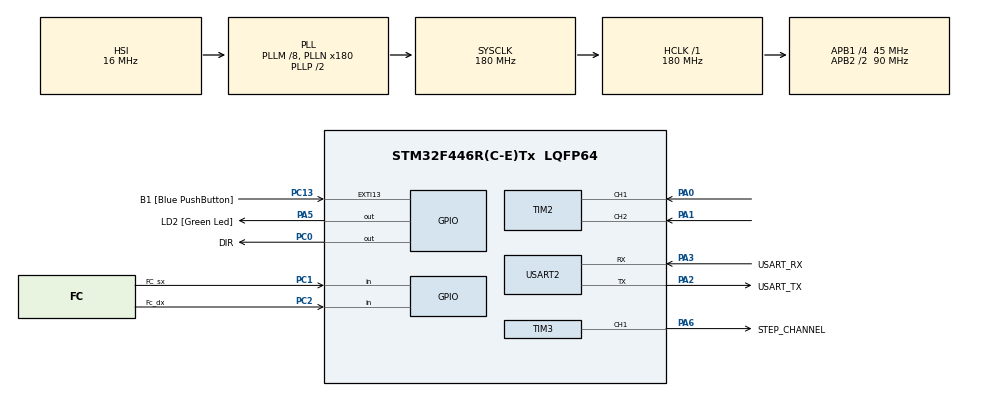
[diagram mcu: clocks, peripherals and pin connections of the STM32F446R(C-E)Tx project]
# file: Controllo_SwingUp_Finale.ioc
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Mcu.Family=STM32F4
Mcu.Name=STM32F446R(C-E)Tx
Mcu.Package=LQFP64
NVIC.EXTI15_10_IRQn=true\:0\:0\:false\:false\:true\:true\:true\:false
NVIC.PriorityGroup=NVIC_PRIORITYGROUP_4
NVIC.TIM3_IRQn=true\:1\:0\:false\:false\:true\:true\:true\:true
PA0-WKUP.GPIO_PuPd=GPIO_PULLUP
PA0-WKUP.Signal=S_TIM2_CH1_ETR
PA1.GPIO_PuPd=GPIO_PULLUP
PA1.Signal=S_TIM2_CH2
PA13.GPIO_Label=TMS
PA13.Mode=Serial_Wire
PA13.Signal=SYS_JTMS-SWDIO
PA14.GPIO_Label=TCK
PA14.Mode=Serial_Wire
PA14.Signal=SYS_JTCK-SWCLK
PA2.GPIO_Label=USART_TX
PA2.Mode=Asynchronous
PA2.Signal=USART2_TX
PA3.GPIO_Label=USART_RX
PA3.Mode=Asynchronous
PA3.Signal=USART2_RX
PA5.GPIO_Label=LD2 [Green Led]
PA5.Signal=GPIO_Output
PA6.GPIO_Label=STEP_CHANNEL
PA6.Signal=S_TIM3_CH1
PB3.GPIO_Label=SWO
PB3.Signal=SYS_JTDO-SWO
PC0.GPIO_Label=DIR
PC0.Signal=GPIO_Output
PC1.GPIO_Label=FC_sx
PC1.GPIO_PuPd=GPIO_PULLDOWN
PC1.Signal=GPIO_Input
PC13.GPIO_Label=B1 [Blue PushButton]
PC13.GPIO_ModeDefaultEXTI=GPIO_MODE_IT_RISING_FALLING
PC13.Signal=GPXTI13
PC14-OSC32_IN.Mode=LSE-External-Oscillator
PC14-OSC32_IN.Signal=RCC_OSC32_IN
PC15-OSC32_OUT.Mode=LSE-External-Oscillator
PC15-OSC32_OUT.Signal=RCC_OSC32_OUT
PC2.GPIO_Label=Fc_dx
PC2.GPIO_PuPd=GPIO_PULLDOWN
PC2.Signal=GPIO_Input
PH0-OSC_IN.Mode=HSE-External-Oscillator
PH0-OSC_IN.Signal=RCC_OSC_IN
PH1-OSC_OUT.Mode=HSE-External-Oscillator
PH1-OSC_OUT.Signal=RCC_OSC_OUT
ProjectManager.HeapSize=0x800
ProjectManager.StackSize=0x800
ProjectManager.TargetToolchain=STM32CubeIDE
RCC.48MHZClocksFreq_Value=84000000
RCC.AHBFreq_Value=180000000
RCC.APB1CLKDivider=RCC_HCLK_DIV4
RCC.APB1Freq_Value=45000000
RCC.APB1TimFreq_Value=90000000
RCC.APB2CLKDivider=RCC_HCLK_DIV2
RCC.APB2Freq_Value=90000000
RCC.APB2TimFreq_Value=180000000
RCC.CortexFreq_Value=180000000
RCC.FLatency-AdvancedSettings=FLASH_LATENCY_5
RCC.HCLKFreq_Value=180000000
RCC.HSE_VALUE=8000000
RCC.HSI_VALUE=16000000
RCC.PLLM=8
RCC.PLLN=180
RCC.PLLP=2
RCC.SYSCLKFreq_VALUE=180000000
RCC.SYSCLKSource=RCC_SYSCLKSOURCE_PLLCLK
RCC.USBFreq_Value=180000000
RCC.VCOOutputFreq_Value=360000000
SH.S_TIM2_CH1_ETR.0=TIM2_CH1,Encoder_Interface
SH.S_TIM2_CH2.0=TIM2_CH2,Encoder_Interface
SH.S_TIM3_CH1.0=TIM3_CH1,PWM Generation1 CH1
STMicroelectronics.X-CUBE-AI.10.1.0.ActivationBufferSizeList=3032
STMicroelectronics.X-CUBE-AI.10.1.0.ActivationBuffers=pool0
STMicroelectronics.X-CUBE-AI.10.1.0.ActivationNames=pool0
STMicroelectronics.X-CUBE-AI.10.1.0.ActivationSizes=AI_NETWORK_DATA_ACTIVATION_1_SIZE
STMicroelectronics.X-CUBE-AI.10.1.0.HeapSize=0x800
STMicroelectronics.X-CUBE-AI.10.1.0.InternalRamActivationBufferMaxSize=AI_NETWORK_DATA_ACTIVATIONS_SIZE
STMicroelectronics.X-CUBE-AI.10.1.0.LatestDirectoryUsed-92f86609272449346e2c80d9b0526046b2d6c99d2a002351901f938909888c08=/Users/salvo/Desktop/Prog Embedded/cart-inverted-pendulum/cart_pendolo_velocita_rl/export_modelli_asta20_basevecchia_storia1s_20s
STMicroelectronics.X-CUBE-AI.10.1.0.MaximumNumberOfInputLayer=1
STMicroelectronics.X-CUBE-AI.10.1.0.MaximumNumberOfOutputLayer=1
STMicroelectronics.X-CUBE-AI.10.1.0.MaximumSizeOfInputLayer=1
STMicroelectronics.X-CUBE-AI.10.1.0.MaximumSizeOfOutputLayer=1
STMicroelectronics.X-CUBE-AI.10.1.0.ModelActualCompression-92f86609272449346e2c80d9b0526046b2d6c99d2a002351901f938909888c08=0.0
STMicroelectronics.X-CUBE-AI.10.1.0.ModelCompression-92f86609272449346e2c80d9b0526046b2d6c99d2a002351901f938909888c08=None
STMicroelectronics.X-CUBE-AI.10.1.0.ModelFlashOccupation-92f86609272449346e2c80d9b0526046b2d6c99d2a002351901f938909888c08=145510
STMicroelectronics.X-CUBE-AI.10.1.0.ModelHashList=92f86609272449346e2c80d9b0526046b2d6c99d2a002351901f938909888c08
STMicroelectronics.X-CUBE-AI.10.1.0.ModelKind-92f86609272449346e2c80d9b0526046b2d6c99d2a002351901f938909888c08=ONNX
STMicroelectronics.X-CUBE-AI.10.1.0.ModelMacc-92f86609272449346e2c80d9b0526046b2d6c99d2a002351901f938909888c08=33931
STMicroelectronics.X-CUBE-AI.10.1.0.ModelName-92f86609272449346e2c80d9b0526046b2d6c99d2a002351901f938909888c08=network
STMicroelectronics.X-CUBE-AI.10.1.0.ModelNameList=network
STMicroelectronics.X-CUBE-AI.10.1.0.ModelRamOccupation-92f86609272449346e2c80d9b0526046b2d6c99d2a002351901f938909888c08=3048
STMicroelectronics.X-CUBE-AI.10.1.0.ModelStructureFile-92f86609272449346e2c80d9b0526046b2d6c99d2a002351901f938909888c08=/Users/salvo/Desktop/Prog Embedded/cart-inverted-pendulum/cart_pendolo_velocita_rl/export_modelli_asta20_basevecchia_storia1s_20s/pendolo_actor.onnx
STMicroelectronics.X-CUBE-AI.10.1.0.ModelType-92f86609272449346e2c80d9b0526046b2d6c99d2a002351901f938909888c08=STM32Cube.AI MCU runtime
STMicroelectronics.X-CUBE-AI.10.1.0.ReadyForCodeGeneration=false
STMicroelectronics.X-CUBE-AI.10.1.0.StackSize=0x800
STMicroelectronics.X-CUBE-AI.10.1.0.WorkingBufferStartAddrList=0xFFFFFFFF
STMicroelectronics.X-CUBE-AI.10.1.0.XAaCUBEAaAICcArtificialOoIntelligenceJjCore=true
STMicroelectronics.X-CUBE-AI.10.1.0.copyWeightToRam-92f86609272449346e2c80d9b0526046b2d6c99d2a002351901f938909888c08=false
STMicroelectronics.X-CUBE-AI.10.1.0.customLayerConfigEnabled-92f86609272449346e2c80d9b0526046b2d6c99d2a002351901f938909888c08=false
STMicroelectronics.X-CUBE-AI.10.1.0.noOnnxIoTranspose-92f86609272449346e2c80d9b0526046b2d6c99d2a002351901f938909888c08=false
STMicroelectronics.X-CUBE-AI.10.1.0.useInputAllocation-92f86609272449346e2c80d9b0526046b2d6c99d2a002351901f938909888c08=true
STMicroelectronics.X-CUBE-AI.10.1.0.useOutputAllocation-92f86609272449346e2c80d9b0526046b2d6c99d2a002351901f938909888c08=true
TIM2.EncoderMode=TIM_ENCODERMODE_TI12
TIM2.IC1Filter=15
TIM2.IC2Filter=15
TIM3.AutoReloadPreload=TIM_AUTORELOAD_PRELOAD_ENABLE
TIM3.Channel-PWM\ Generation1\ CH1=TIM_CHANNEL_1
TIM3.Period=124
TIM3.Prescaler=0
TIM3.Pulse-PWM\ Generation1\ CH1=6
USART2.VirtualMode=VM_ASYNC
VP_CRC_VS_CRC.Mode=CRC_Activate
VP_STMicroelectronics.X-CUBE-AI_VS_ArtificialOoIntelligenceJjXAaCUBEAaAI_10.1.0.Mode=ArtificialOoIntelligenceJjXAaCUBEAaAI
VP_TIM3_VS_ClockSourceINT.Mode=Internal
board=NUCLEO-F446RE

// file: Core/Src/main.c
/* USER CODE BEGIN Header */
/**
  ******************************************************************************
  * @file           : main.c
  * @brief          : Main program body
  ******************************************************************************
  * @attention
  *
  * Copyright (c) 2026 STMicroelectronics.
  * All rights reserved.
  *
  * This software is licensed under terms that can be found in the LICENSE file
  * in the root directory of this software component.
  * If no LICENSE file comes with this software, it is provided AS-IS.
  *
  ******************************************************************************
  */
/* USER CODE END Header */
#include "main.h"

/* USER CODE BEGIN Includes */

#include "stepper.h"
#include "encoder.h"
#include "rete.h"
#include "controllo.h"
#include "hil.h"

/* USER CODE END Includes */

CRC_HandleTypeDef hcrc;

TIM_HandleTypeDef htim2;
TIM_HandleTypeDef htim3;

UART_HandleTypeDef huart2;

void SystemClock_Config(void);
static void MX_GPIO_Init(void);
static void MX_USART2_UART_Init(void);
static void MX_TIM2_Init(void);
static void MX_TIM3_Init(void);
static void MX_CRC_Init(void);

int main(void)
{

  /* MCU Configuration--------------------------------------------------------*/

  /* Reset of all peripherals, Initializes the Flash interface and the Systick. */
  HAL_Init();

  /* Configure the system clock */
  SystemClock_Config();

  /* Initialize all configured peripherals */
  MX_GPIO_Init();
  MX_USART2_UART_Init();
  MX_TIM2_Init();
  MX_TIM3_Init();
  MX_CRC_Init();
  /* USER CODE BEGIN 2 */

  if (Encoder_Init() != HAL_OK)
  {
      Error_Handler();
  }

  if (!Rete_Init())
  {
      controllo_errore = 1;
      Error_Handler();
  }

/* Verifica HIL */
#if HIL_MODE
  Hil_Esegui();
#endif

  /* Acquisizione del riferimento del pendolo prima di muovere il carrello. */
  Stepper_Stop();
  if (Inizializza_Theta() != HAL_OK)
  {
      controllo_errore = 7;
      Error_Handler();
  }
  ultimo_theta_rad = theta_rad;
  velocita_angolare_rad_s = 0.0f;

  /* Homing automatico del carrello per settare la posizione iniziale. */
  Inizializza();
  if (inizializzazione_esito != HAL_OK)
  {
      Error_Handler();
  }
  Calcola_LimitiControllo();

  Stepper_Stop();
  __HAL_GPIO_EXTI_CLEAR_IT(B1_Pin);
  /* Pulizia delle pressioni del pulsante B1 durante l'homing. */
  HAL_NVIC_ClearPendingIRQ(EXTI15_10_IRQn);
  /* Aggiornamento dal riferimento di theta. */
  Leggi_theta();
  ultimo_theta_rad = theta_rad;
  ultimo_carrello_steps = posizione_carrello_steps;
  ultimo_campione_ms = HAL_GetTick();
  pulsante_inizializzato = 1;
  /* Da qui B1 è abilitato.*/
  HAL_NVIC_EnableIRQ(EXTI15_10_IRQn);

  /* USER CODE END 2 */

  /* Infinite loop */
  /* USER CODE BEGIN WHILE */
  while (1)
  {
      /* Inizializzazione del controllo ed eventuale cambio di rete. */
      if (!controllo_abilitato)
      {
          Rete_CambiaSeRichiesto();
          Controllo_AccettaAvvio();
      }
      /* Ciclo principale di controllo. */
      Controllo_Esegui();
      HAL_Delay(1);
    /* USER CODE END WHILE */

  }
}

void SystemClock_Config(void)
{
  RCC_OscInitTypeDef RCC_OscInitStruct = {0};
  RCC_ClkInitTypeDef RCC_ClkInitStruct = {0};

  /** Configure the main internal regulator output voltage
  */
  __HAL_RCC_PWR_CLK_ENABLE();
  __HAL_PWR_VOLTAGESCALING_CONFIG(PWR_REGULATOR_VOLTAGE_SCALE1);

  /** Initializes the RCC Oscillators according to the specified parameters
  * in the RCC_OscInitTypeDef structure.
  */
  RCC_OscInitStruct.OscillatorType = RCC_OSCILLATORTYPE_HSI;
  RCC_OscInitStruct.HSIState = RCC_HSI_ON;
  RCC_OscInitStruct.HSICalibrationValue = RCC_HSICALIBRATION_DEFAULT;
  RCC_OscInitStruct.PLL.PLLState = RCC_PLL_ON;
  RCC_OscInitStruct.PLL.PLLSource = RCC_PLLSOURCE_HSI;
  RCC_OscInitStruct.PLL.PLLM = 8;
  RCC_OscInitStruct.PLL.PLLN = 180;
  RCC_OscInitStruct.PLL.PLLP = 2;
  RCC_OscInitStruct.PLL.PLLQ = 2;
  RCC_OscInitStruct.PLL.PLLR = 2;
  if (HAL_RCC_OscConfig(&RCC_OscInitStruct) != HAL_OK)
  {
    Error_Handler();
  }

  /** Activate the Over-Drive mode
  */
  if (HAL_PWREx_EnableOverDrive() != HAL_OK)
  {
    Error_Handler();
  }

  /** Initializes the CPU, AHB and APB buses clocks
  */
  RCC_ClkInitStruct.ClockType = RCC_CLOCKTYPE_HCLK|RCC_CLOCKTYPE_SYSCLK
                              |RCC_CLOCKTYPE_PCLK1|RCC_CLOCKTYPE_PCLK2;
  RCC_ClkInitStruct.SYSCLKSource = RCC_SYSCLKSOURCE_PLLCLK;
  RCC_ClkInitStruct.AHBCLKDivider = RCC_SYSCLK_DIV1;
  RCC_ClkInitStruct.APB1CLKDivider = RCC_HCLK_DIV4;
  RCC_ClkInitStruct.APB2CLKDivider = RCC_HCLK_DIV2;

  if (HAL_RCC_ClockConfig(&RCC_ClkInitStruct, FLASH_LATENCY_5) != HAL_OK)
  {
    Error_Handler();
  }
}

static void MX_CRC_Init(void)
{

  hcrc.Instance = CRC;
  if (HAL_CRC_Init(&hcrc) != HAL_OK)
  {
    Error_Handler();
  }

}

static void MX_TIM2_Init(void)
{

  TIM_Encoder_InitTypeDef sConfig = {0};
  TIM_MasterConfigTypeDef sMasterConfig = {0};

  htim2.Instance = TIM2;
  htim2.Init.Prescaler = 0;
  htim2.Init.CounterMode = TIM_COUNTERMODE_UP;
  htim2.Init.Period = 4294967295;
  htim2.Init.ClockDivision = TIM_CLOCKDIVISION_DIV1;
  htim2.Init.AutoReloadPreload = TIM_AUTORELOAD_PRELOAD_DISABLE;
  sConfig.EncoderMode = TIM_ENCODERMODE_TI12;
  sConfig.IC1Polarity = TIM_ICPOLARITY_RISING;
  sConfig.IC1Selection = TIM_ICSELECTION_DIRECTTI;
  sConfig.IC1Prescaler = TIM_ICPSC_DIV1;
  sConfig.IC1Filter = 15;
  sConfig.IC2Polarity = TIM_ICPOLARITY_RISING;
  sConfig.IC2Selection = TIM_ICSELECTION_DIRECTTI;
  sConfig.IC2Prescaler = TIM_ICPSC_DIV1;
  sConfig.IC2Filter = 15;
  if (HAL_TIM_Encoder_Init(&htim2, &sConfig) != HAL_OK)
  {
    Error_Handler();
  }
  sMasterConfig.MasterOutputTrigger = TIM_TRGO_RESET;
  sMasterConfig.MasterSlaveMode = TIM_MASTERSLAVEMODE_DISABLE;
  if (HAL_TIMEx_MasterConfigSynchronization(&htim2, &sMasterConfig) != HAL_OK)
  {
    Error_Handler();
  }

}

static void MX_TIM3_Init(void)
{

  TIM_ClockConfigTypeDef sClockSourceConfig = {0};
  TIM_MasterConfigTypeDef sMasterConfig = {0};
  TIM_OC_InitTypeDef sConfigOC = {0};

  htim3.Instance = TIM3;
  htim3.Init.Prescaler = 0;
  htim3.Init.CounterMode = TIM_COUNTERMODE_UP;
  htim3.Init.Period = 28124;
  htim3.Init.ClockDivision = TIM_CLOCKDIVISION_DIV1;
  htim3.Init.AutoReloadPreload = TIM_AUTORELOAD_PRELOAD_ENABLE;
  if (HAL_TIM_Base_Init(&htim3) != HAL_OK)
  {
    Error_Handler();
  }
  sClockSourceConfig.ClockSource = TIM_CLOCKSOURCE_INTERNAL;
  if (HAL_TIM_ConfigClockSource(&htim3, &sClockSourceConfig) != HAL_OK)
  {
    Error_Handler();
  }
  if (HAL_TIM_PWM_Init(&htim3) != HAL_OK)
  {
    Error_Handler();
  }
  sMasterConfig.MasterOutputTrigger = TIM_TRGO_RESET;
  sMasterConfig.MasterSlaveMode = TIM_MASTERSLAVEMODE_DISABLE;
  if (HAL_TIMEx_MasterConfigSynchronization(&htim3, &sMasterConfig) != HAL_OK)
  {
    Error_Handler();
  }
  sConfigOC.OCMode = TIM_OCMODE_PWM1;
  sConfigOC.Pulse = 14062;
  sConfigOC.OCPolarity = TIM_OCPOLARITY_HIGH;
  sConfigOC.OCFastMode = TIM_OCFAST_DISABLE;
  if (HAL_TIM_PWM_ConfigChannel(&htim3, &sConfigOC, TIM_CHANNEL_1) != HAL_OK)
  {
    Error_Handler();
  }
  HAL_TIM_MspPostInit(&htim3);

}

static void MX_USART2_UART_Init(void)
{

  huart2.Instance = USART2;
  huart2.Init.BaudRate = 115200;
  huart2.Init.WordLength = UART_WORDLENGTH_8B;
  huart2.Init.StopBits = UART_STOPBITS_1;
  huart2.Init.Parity = UART_PARITY_NONE;
  huart2.Init.Mode = UART_MODE_TX_RX;
  huart2.Init.HwFlowCtl = UART_HWCONTROL_NONE;
  huart2.Init.OverSampling = UART_OVERSAMPLING_16;
  if (HAL_UART_Init(&huart2) != HAL_OK)
  {
    Error_Handler();
  }

}

static void MX_GPIO_Init(void)
{
  GPIO_InitTypeDef GPIO_InitStruct = {0};

  /* GPIO Ports Clock Enable */
  __HAL_RCC_GPIOC_CLK_ENABLE();
  __HAL_RCC_GPIOH_CLK_ENABLE();
  __HAL_RCC_GPIOA_CLK_ENABLE();
  __HAL_RCC_GPIOB_CLK_ENABLE();

  /*Configure GPIO pin Output Level */
  HAL_GPIO_WritePin(DIR_GPIO_Port, DIR_Pin, GPIO_PIN_RESET);

  /*Configure GPIO pin Output Level */
  HAL_GPIO_WritePin(LD2_GPIO_Port, LD2_Pin, GPIO_PIN_RESET);

  /*Configure GPIO pin : B1_Pin */
  GPIO_InitStruct.Pin = B1_Pin;
  GPIO_InitStruct.Mode = GPIO_MODE_IT_RISING_FALLING;
  GPIO_InitStruct.Pull = GPIO_NOPULL;
  HAL_GPIO_Init(B1_GPIO_Port, &GPIO_InitStruct);

  /*Configure GPIO pin : DIR_Pin */
  GPIO_InitStruct.Pin = DIR_Pin;
  GPIO_InitStruct.Mode = GPIO_MODE_OUTPUT_PP;
  GPIO_InitStruct.Pull = GPIO_NOPULL;
  GPIO_InitStruct.Speed = GPIO_SPEED_FREQ_LOW;
  HAL_GPIO_Init(DIR_GPIO_Port, &GPIO_InitStruct);

  /*Configure GPIO pins : FC_sx_Pin Fc_dx_Pin */
  GPIO_InitStruct.Pin = FC_sx_Pin|Fc_dx_Pin;
  GPIO_InitStruct.Mode = GPIO_MODE_INPUT;
  GPIO_InitStruct.Pull = GPIO_PULLDOWN;
  HAL_GPIO_Init(GPIOC, &GPIO_InitStruct);

  /*Configure GPIO pin : LD2_Pin */
  GPIO_InitStruct.Pin = LD2_Pin;
  GPIO_InitStruct.Mode = GPIO_MODE_OUTPUT_PP;
  GPIO_InitStruct.Pull = GPIO_NOPULL;
  GPIO_InitStruct.Speed = GPIO_SPEED_FREQ_LOW;
  HAL_GPIO_Init(LD2_GPIO_Port, &GPIO_InitStruct);

  /* EXTI interrupt init*/
  HAL_NVIC_SetPriority(EXTI15_10_IRQn, 0, 0);

/* USER CODE BEGIN MX_GPIO_Init_2 */
  /* Abilitazione rimandata al main, dopo Inizializza(). */
  HAL_NVIC_DisableIRQ(EXTI15_10_IRQn);
/* USER CODE END MX_GPIO_Init_2 */
}

void Error_Handler(void)
{
  /* USER CODE BEGIN Error_Handler_Debug */
  /* User can add his own implementation to report the HAL error return state */
  __disable_irq();
  /* Ferma l'hardware prima del ciclo infinito (altrimenti il PWM continuerebbe anche senza CPU). */
  if (htim3.Instance == TIM3)
      Controllo_Disabilita();
  while (1)
  {
  }
  /* USER CODE END Error_Handler_Debug */
}
